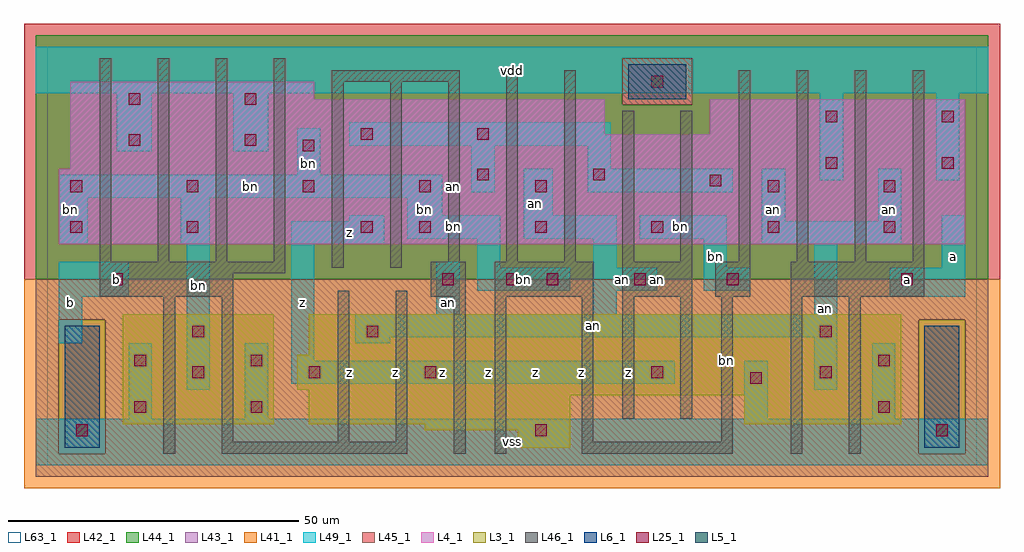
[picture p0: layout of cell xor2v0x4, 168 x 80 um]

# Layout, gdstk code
import gdstk
lib = gdstk.Library(unit=1e-6, precision=1e-09)
def R(c, l, rs):  # rectangles x0, y0, x1, y1
    for r in rs: c.add(gdstk.rectangle(r[:2], r[2:], *l))
def A(c, l, x, y, w, h, nx, ny, dx, dy):  # array of equal rectangles
    R(c, l, [(x+i*dx, y+j*dy, x+i*dx+w, y+j*dy+h) for i in range(nx) for j in range(ny)])
L3_1 = (3, 1)
L4_1 = (4, 1)
L5_1 = (5, 1)
L6_1 = (6, 1)
L25_1 = (25, 1)
L41_1 = (41, 1)
L42_1 = (42, 1)
L43_1 = (43, 1)
L44_1 = (44, 1)
L45_1 = (45, 1)
L46_1 = (46, 1)
L49_1 = (49, 1)
L63_1 = (63, 1)

xor2v0x4 = lib.new_cell('xor2v0x4')
R(xor2v0x4, L3_1, [(81,3,90,6), (65,6,90,7), (13,7,39,26), (45,7,90,12), (120,7,147,12), (45,12,147,13), (43,13,147,19), (45,19,147,26)])
R(xor2v0x4, L4_1, [(2,38,158,51), (4,51,158,57), (4,57,96,63), (114,57,158,63), (4,63,46,66)])
R(xor2v0x4, L5_1, [(100,63,110,69)])
R(xor2v0x4, L6_1, [(3,3,9,24), (3,3,9,24), (151,3,157,24), (151,3,157,24)])
A(xor2v0x4, L25_1, 25, 15, 2, 2, 3, 1, 20, 0)
A(xor2v0x4, L25_1, 64, 40, 2, 2, 5, 1, 20, 0)
A(xor2v0x4, L25_1, 4, 47, 2, 2, 5, 1, 20, 0)
R(xor2v0x4, L25_1, [(5,5,7,7), (84,5,86,7), (153,5,155,7), (15,9,17,11), (35,9,37,11), (143,9,145,11), (121,14,123,16), (104,15,106,17), (133,15,135,17), (15,17,17,19), (35,17,37,19), (143,17,145,19), (25,22,27,24), (55,22,57,24), (133,22,135,24), (11,31,13,33), (68,31,70,33), (79,31,81,33), (86,31,88,33), (101,31,103,33), (117,31,119,33), (147,31,149,33), (4,40,6,42), (24,40,26,42), (54,40,56,42), (124,47,126,49), (144,47,146,49), (114,48,116,50), (74,49,76,51), (94,49,96,51), (134,51,136,53), (154,51,156,53), (44,54,46,56), (14,55,16,57), (34,55,36,57), (54,56,56,58), (74,56,76,58), (134,59,136,61), (154,59,156,61), (14,62,16,64), (34,62,36,64), (104,65,106,67)])
R(xor2v0x4, L41_1, [(-4,-4,164,32)])
R(xor2v0x4, L42_1, [(-4,32,164,76)])
R(xor2v0x4, L43_1, [(3,3,9,24), (81,3,90,6), (151,3,157,24), (65,6,90,7), (13,7,39,26), (45,7,90,12), (120,7,147,12), (45,12,147,13), (43,13,147,19), (45,19,147,26), (2,38,158,51), (4,51,158,57), (4,57,96,63), (114,57,158,63), (4,63,46,66), (100,63,110,69)])
R(xor2v0x4, L44_1, [(2,2,10,25), (150,2,158,25), (-2,32,162,62), (-2,62,99,70), (111,62,162,70), (-2,70,162,74)])
R(xor2v0x4, L45_1, [(-2,-2,162,2), (-2,2,2,25), (10,2,150,25), (158,2,162,25), (-2,25,162,32), (99,62,111,70)])
A(xor2v0x4, L46_1, 9, 35, 2, 35, 4, 1, 10, 0)
A(xor2v0x4, L46_1, 119, 35, 2, 33, 4, 1, 10, 0)
R(xor2v0x4, L46_1, [(20,2,22,29), (30,2,62,4), (70,2,72,29), (77,2,79,29), (92,2,118,4), (128,2,130,29), (138,2,140,29), (30,4,32,29), (50,4,52,30), (60,4,62,30), (92,4,94,29), (116,4,118,29), (99,8,101,29), (109,8,111,29), (9,29,32,33), (66,29,72,35), (77,29,94,35), (99,29,111,35), (115,29,121,35), (128,29,151,35), (9,33,41,35), (49,34,51,66), (59,34,61,66), (69,35,71,66), (79,35,81,68), (89,35,91,68), (99,35,101,61), (109,35,111,61), (49,66,71,68)])
R(xor2v0x4, L49_1, [(-2,0,162,8), (14,8,18,21), (34,8,38,21), (120,8,124,18), (142,8,146,21), (24,13,28,38), (132,13,136,22), (42,14,108,18), (42,18,46,38), (2,21,6,29), (53,21,59,22), (53,22,136,26), (67,26,71,35), (94,26,98,30), (132,26,136,38), (2,29,14,35), (145,29,158,34), (74,30,90,34), (94,30,105,34), (113,30,121,34), (74,34,78,39), (94,34,98,39), (113,34,117,39), (154,34,158,43), (2,38,7,46), (23,38,28,46), (42,38,58,42), (123,38,147,42), (62,39,78,43), (82,39,98,43), (102,39,117,43), (52,42,58,43), (123,42,127,51), (143,42,147,51), (62,43,68,46), (82,43,87,51), (2,46,68,50), (73,47,77,55), (93,47,118,51), (133,49,137,64), (153,49,157,64), (43,50,47,58), (93,51,97,55), (12,54,18,64), (32,54,38,64), (52,55,97,59), (-2,64,162,72)])
R(xor2v0x4, L63_1, [(0,0,160,72)])
xor2v0x4.add(gdstk.Label('an', (70,48), layer=46, texttype=1))
xor2v0x4.add(gdstk.Label('an', (105,32), layer=46, texttype=1))
xor2v0x4.add(gdstk.Label('bn', (117,18), layer=46, texttype=1))
xor2v0x4.add(gdstk.Label('b', (12,32), layer=49, texttype=1))
xor2v0x4.add(gdstk.Label('b', (4,28), layer=49, texttype=1))
xor2v0x4.add(gdstk.Label('bn', (4,44), layer=49, texttype=1))
xor2v0x4.add(gdstk.Label('bn', (26,31), layer=49, texttype=1))
xor2v0x4.add(gdstk.Label('z', (52,16), layer=49, texttype=1))
xor2v0x4.add(gdstk.Label('z', (60,16), layer=49, texttype=1))
xor2v0x4.add(gdstk.Label('z', (44,28), layer=49, texttype=1))
xor2v0x4.add(gdstk.Label('z', (52,40), layer=49, texttype=1))
xor2v0x4.add(gdstk.Label('bn', (45,52), layer=49, texttype=1))
xor2v0x4.add(gdstk.Label('vss', (80,4), layer=49, texttype=1))
xor2v0x4.add(gdstk.Label('z', (68,16), layer=49, texttype=1))
xor2v0x4.add(gdstk.Label('z', (76,16), layer=49, texttype=1))
xor2v0x4.add(gdstk.Label('z', (92,16), layer=49, texttype=1))
xor2v0x4.add(gdstk.Label('z', (84,16), layer=49, texttype=1))
xor2v0x4.add(gdstk.Label('an', (69,28), layer=49, texttype=1))
xor2v0x4.add(gdstk.Label('bn', (82,32), layer=49, texttype=1))
xor2v0x4.add(gdstk.Label('an', (84,45), layer=49, texttype=1))
xor2v0x4.add(gdstk.Label('bn', (70,41), layer=49, texttype=1))
xor2v0x4.add(gdstk.Label('bn', (65,44), layer=49, texttype=1))
xor2v0x4.add(gdstk.Label('bn', (35,48), layer=49, texttype=1))
xor2v0x4.add(gdstk.Label('vdd', (80,68), layer=49, texttype=1))
xor2v0x4.add(gdstk.Label('z', (100,16), layer=49, texttype=1))
xor2v0x4.add(gdstk.Label('an', (99,32), layer=49, texttype=1))
xor2v0x4.add(gdstk.Label('an', (125,44), layer=49, texttype=1))
xor2v0x4.add(gdstk.Label('bn', (109,41), layer=49, texttype=1))
xor2v0x4.add(gdstk.Label('bn', (115,36), layer=49, texttype=1))
xor2v0x4.add(gdstk.Label('an', (94,24), layer=49, texttype=1))
xor2v0x4.add(gdstk.Label('a', (148,32), layer=49, texttype=1))
xor2v0x4.add(gdstk.Label('an', (134,27), layer=49, texttype=1))
xor2v0x4.add(gdstk.Label('a', (156,36), layer=49, texttype=1))
xor2v0x4.add(gdstk.Label('an', (145,44), layer=49, texttype=1))

lib.write_gds('xor2v0x4.gds')
